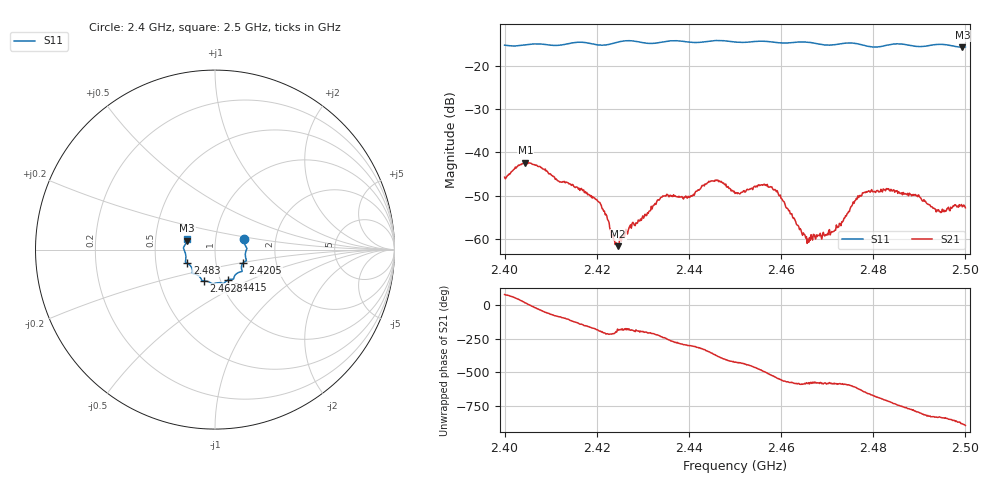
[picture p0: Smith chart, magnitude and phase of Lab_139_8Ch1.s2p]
# Hz S RI R 50
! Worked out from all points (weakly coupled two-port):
!   601 points, 2.4 GHz to 2.5 GHz, reference 50 ohm
!   highest |S21| = -42.41 dB at 2.4045 GHz (marker M1); lowest = -61.6 dB at 2.4247 GHz (marker M2)
!   lowest |S11| = -15.8 dB at 2.4993 GHz (marker M3), VSWR 1.39, Z = 36.4 + j3.67 ohm
!   |S11| at or under -10 dB: start of sweep to end of sweep
!   S12 and S22 are empty: the file has one direction only
!   S11 on the Smith chart (normalised r, x): 2.4 GHz: 1.38, +0.16; 2.4205 GHz: 1.35, -0.21; 2.4415 GHz: 1.09, -0.38; 2.4628 GHz: 0.83, -0.30; 2.483 GHz: 0.73, -0.11; 2.5 GHz: 0.73, +0.09
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2.4e9  0.1623 0.0567  0.00125 0.00501  0 0  0 0
2.4045e9  0.1726 0.0156  0.00737 0.00176  0 0  0 0
2.416667e9  0.1751 -0.062  -0.00306 -0.0023  0 0  0 0
2.4205e9  0.1552 -0.0754  -0.00259 0.000587  0 0  0 0
2.423667e9  0.1477 -0.1047  -0.000807 0.000531  0 0  0 0
2.424667e9  0.1495 -0.1123  -0.00082 0.000111  0 0  0 0
2.433333e9  0.108 -0.1478  -0.00204 0.00199  0 0  0 0
2.4415e9  0.0734 -0.1691  0.00229 0.00271  0 0  0 0
2.445833e9  0.0491 -0.1882  0.00459 -0.0011  0 0  0 0
2.45e9  0.0298 -0.1846  0.00144 -0.00302  0 0  0 0
2.4575e9  -0.0209 -0.1873  -0.00356 -0.00175  0 0  0 0
2.462833e9  -0.0621 -0.1742  -0.00132 0.00113  0 0  0 0
2.4655e9  -0.0724 -0.1718  -0.000864 0.000625  0 0  0 0
2.466667e9  -0.0752 -0.1674  -0.000782 0.000682  0 0  0 0
2.471167e9  -0.1031 -0.1387  -0.000862 0.000843  0 0  0 0
2.478167e9  -0.1256 -0.1149  0.000826 0.00336  0 0  0 0
2.483e9  -0.1538 -0.0766  0.00375 0.00067  0 0  0 0
2.483333e9  -0.1561 -0.0753  0.00378 0.000401  0 0  0 0
2.4895e9  -0.1622 -0.0358  0.00104 -0.00301  0 0  0 0
2.494167e9  -0.1754 0.008  -0.000791 -0.00203  0 0  0 0
2.499333e9  -0.1555 0.0491  -0.00221 -0.000799  0 0  0 0
2.5e9  -0.1534 0.0576  -0.00227 -0.000323  0 0  0 0
